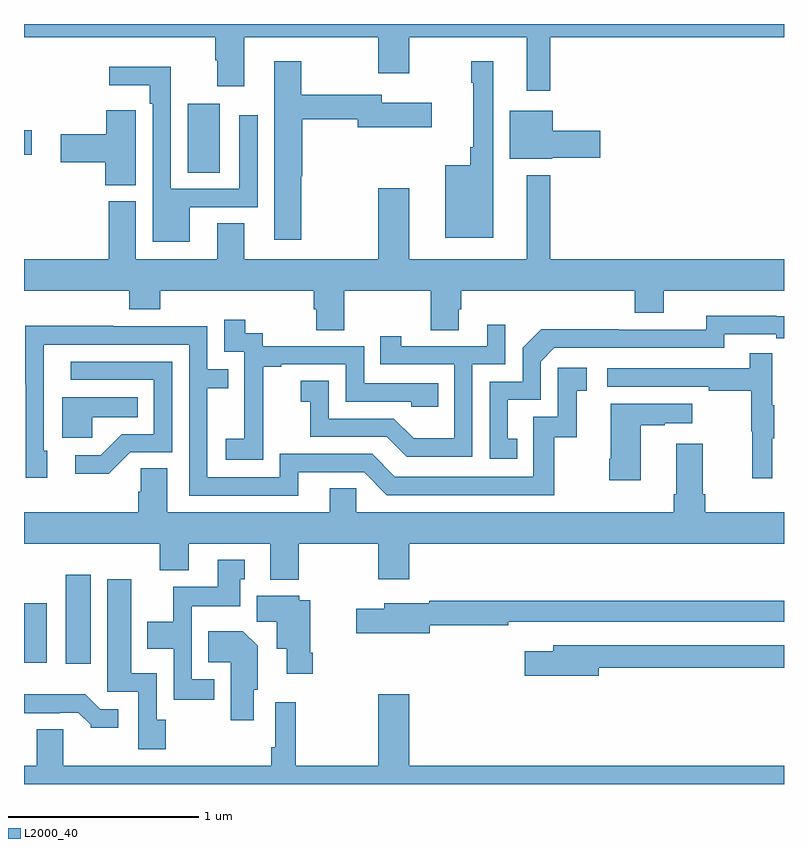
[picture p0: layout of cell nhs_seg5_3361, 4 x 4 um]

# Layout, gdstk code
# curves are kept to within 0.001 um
import gdstk
lib = gdstk.Library(unit=1e-6, precision=1e-09)
def R(c, l, rs):  # rectangles x0, y0, x1, y1
    for r in rs: c.add(gdstk.rectangle(r[:2], r[2:], *l))
def P(c, l, *ps):  # polygons
    for p in ps: c.add(gdstk.Polygon(p, *l))
L2000_40 = (2000, 40)

nhs_seg5_3361 = lib.new_cell('nhs_seg5_3361')
R(nhs_seg5_3361, L2000_40, [(307.22,885.432,307.351,885.901), (307,885.437,307.12,885.751), (307.862,888.016,308.029,888.379), (307,888.11,307.042,888.24)])
P(nhs_seg5_3361, L2000_40, [(309.769,888.728),(311,888.728),(311,888.799),(307,888.799),(307,888.728),(308.006,888.728),(308.006,888.608),(308.018,888.608),(308.018,888.471),(308.158,888.471),(308.158,888.728),(308.864,888.728),(308.864,888.54),(309.028,888.54),(309.028,888.728),(309.647,888.728),(309.647,888.447),(309.769,888.447)],
  [(308.46,887.999),(308.465,887.999),(308.465,888.298),(308.756,888.298),(308.756,888.256),(309.145,888.256),(309.145,888.385),(308.884,888.385),(308.884,888.427),(308.46,888.427),(308.46,888.604),(308.318,888.604),(308.318,887.664),(308.46,887.664)],
  [(309.469,888.604),(309.355,888.604),(309.355,888.491),(309.365,888.491),(309.365,888.151),(309.348,888.151),(309.348,888.055),(309.218,888.055),(309.218,887.675),(309.469,887.675)],
  [(307.873,887.835),(308.229,887.835),(308.229,888.319),(308.133,888.319),(308.133,887.931),(307.773,887.931),(307.773,888.574),(307.449,888.574),(307.449,888.476),(307.661,888.476),(307.661,888.38),(307.677,888.38),(307.677,887.654),(307.873,887.654)],
  [(307.588,888.233),(307.587,888.233),(307.587,888.346),(307.432,888.346),(307.432,888.218),(307.194,888.218),(307.194,888.071),(307.427,888.071),(307.427,887.95),(307.588,887.95)],
  [(309.78,888.095),(310.033,888.095),(310.033,888.237),(309.784,888.237),(309.784,888.343),(309.557,888.343),(309.557,888.089),(309.78,888.089)],
  [(308.685,887.396),(309.142,887.396),(309.142,887.188),(309.289,887.188),(309.289,887.298),(309.302,887.298),(309.302,887.396),(310.214,887.396),(310.214,887.279),(310.366,887.279),(310.366,887.396),(311,887.396),(311,887.56),(309.769,887.56),(309.769,888.004),(309.647,888.004),(309.647,887.56),(309.028,887.56),(309.028,887.935),(308.864,887.935),(308.864,887.56),(308.158,887.56),(308.158,887.75),(308.018,887.75),(308.018,887.56),(307.588,887.56),(307.588,887.865),(307.445,887.865),(307.445,887.56),(307,887.56),(307,887.396),(307.553,887.396),(307.553,887.297),(307.718,887.297),(307.718,887.396),(308.525,887.396),(308.525,887.298),(308.537,887.298),(308.537,887.188),(308.685,887.188)],
  [(309.596,886.617),(309.547,886.617),(309.547,886.821),(309.72,886.821),(309.72,887.022),(309.792,887.094),(310.686,887.094),(310.686,887.166),(310.958,887.166),(310.958,887.146),(311,887.146),(311,887.262),(310.59,887.263),(310.59,887.19),(310.13,887.19),(310.13,887.192),(309.722,887.192),(309.624,887.094),(309.624,886.917),(309.45,886.917),(309.45,886.512),(309.596,886.512)],
  [(308.259,886.711),(308.258,886.711),(308.258,886.995),(308.353,886.995),(308.353,887.007),(308.694,887.007),(308.694,886.812),(309.039,886.812),(309.039,886.785),(309.179,886.785),(309.179,886.908),(308.79,886.908),(308.79,887.103),(308.256,887.103),(308.256,887.172),(308.164,887.172),(308.164,887.242),(308.055,887.242),(308.055,887.073),(308.16,887.073),(308.16,886.844),(308.159,886.844),(308.159,886.615),(308.061,886.615),(308.061,886.505),(308.259,886.505)],
  [(309.36,887.007),(309.534,887.007),(309.534,887.215),(309.437,887.215),(309.437,887.103),(308.986,887.103),(308.986,887.155),(308.875,887.155),(308.875,887.007),(309.264,887.007),(309.264,886.618),(309.05,886.618),(308.946,886.722),(308.604,886.722),(308.604,886.921),(308.457,886.921),(308.457,886.811),(308.506,886.811),(308.506,886.626),(308.909,886.626),(309.014,886.521),(309.36,886.521)],
  [(308.443,886.44),(308.79,886.44),(308.91,886.32),(309.79,886.32),(309.79,886.623),(309.908,886.623),(309.908,886.869),(309.961,886.869),(309.961,886.99),(309.81,886.99),(309.81,886.731),(309.681,886.731),(309.681,886.416),(308.952,886.416),(308.832,886.536),(308.346,886.536),(308.346,886.413),(307.965,886.413),(307.965,886.882),(308.075,886.882),(308.075,886.983),(307.965,886.983),(307.965,887.208),(307.469,887.208),(307.469,887.21),(307.006,887.21),(307.006,886.903),(307.008,886.903),(307.008,886.41),(307.123,886.41),(307.123,886.554),(307.104,886.554),(307.105,887.112),(307.869,887.112),(307.869,886.317),(308.443,886.317)],
  [(310.937,886.619),(310.948,886.619),(310.948,886.793),(310.937,886.793),(310.937,887.065),(310.819,887.065),(310.819,886.986),(310.071,886.986),(310.071,886.89),(310.603,886.89),(310.603,886.87),(310.827,886.87),(310.827,886.656),(310.834,886.656),(310.834,886.407),(310.937,886.407)],
  [(307.56,886.545),(307.779,886.545),(307.779,887.022),(307.245,887.022),(307.245,886.926),(307.683,886.926),(307.683,886.641),(307.514,886.641),(307.403,886.53),(307.269,886.53),(307.269,886.433),(307.447,886.433)],
  [(307.359,886.73),(307.598,886.73),(307.598,886.834),(307.202,886.834),(307.202,886.622),(307.359,886.622)],
  [(310.246,886.687),(310.373,886.687),(310.373,886.697),(310.516,886.697),(310.516,886.801),(310.088,886.801),(310.088,886.51),(310.081,886.51),(310.081,886.398),(310.246,886.398)],
  [(308.445,886.064),(308.864,886.064),(308.864,885.876),(309.028,885.876),(309.028,886.064),(311,886.064),(311,886.228),(310.586,886.228),(310.586,886.324),(310.573,886.324),(310.573,886.591),(310.433,886.591),(310.433,886.324),(310.421,886.324),(310.421,886.228),(308.748,886.228),(308.748,886.355),(308.609,886.355),(308.609,886.228),(307.753,886.228),(307.753,886.46),(307.614,886.46),(307.614,886.337),(307.601,886.337),(307.601,886.228),(307,886.228),(307,886.064),(307.715,886.064),(307.715,885.923),(307.867,885.923),(307.867,886.064),(308.297,886.064),(308.297,885.875),(308.445,885.875)],
  [(308.002,885.351),(307.884,885.351),(307.884,885.734),(308.137,885.734),(308.137,885.876),(308.161,885.876),(308.161,885.979),(308.021,885.979),(308.021,885.838),(307.786,885.838),(307.786,885.652),(307.649,885.652),(307.649,885.512),(307.788,885.512),(307.788,885.243),(308.002,885.243)],
  [(307.746,885.138),(307.698,885.138),(307.698,885.382),(307.564,885.382),(307.564,885.877),(307.439,885.877),(307.439,885.285),(307.602,885.285),(307.602,884.982),(307.746,884.982)],
  [(308.519,885.49),(308.506,885.49),(308.506,885.766),(308.448,885.766),(308.448,885.79),(308.225,885.79),(308.225,885.652),(308.33,885.652),(308.33,885.512),(308.384,885.512),(308.384,885.378),(308.519,885.378)],
  [(309.136,885.634),(309.548,885.634),(309.548,885.654),(311,885.654),(311,885.763),(309.132,885.763),(309.132,885.75),(308.897,885.75),(308.897,885.721),(308.748,885.721),(308.748,885.592),(309.136,885.592)],
  [(308.209,885.294),(308.23,885.294),(308.23,885.526),(308.152,885.604),(307.969,885.604),(307.969,885.44),(308.087,885.44),(308.087,885.135),(308.209,885.135)],
  [(310.024,885.412),(311,885.412),(311,885.528),(309.785,885.528),(309.785,885.499),(309.636,885.499),(309.636,885.37),(310.024,885.37)],
  [(311,884.896),(309.028,884.896),(309.028,885.271),(308.864,885.271),(308.864,884.896),(308.431,884.896),(308.431,885.229),(308.322,885.229),(308.322,884.992),(308.302,884.992),(308.302,884.896),(307.207,884.896),(307.207,885.086),(307.067,885.086),(307.067,884.896),(307,884.896),(307,884.799),(311,884.799)],
  [(307.495,885.192),(307.401,885.192),(307.323,885.271),(307,885.271),(307,885.171),(307.187,885.171),(307.187,885.174),(307.286,885.174),(307.35,885.11),(307.35,885.095),(307.495,885.095)])

lib.write_gds('nhs_seg5_3361.gds')
